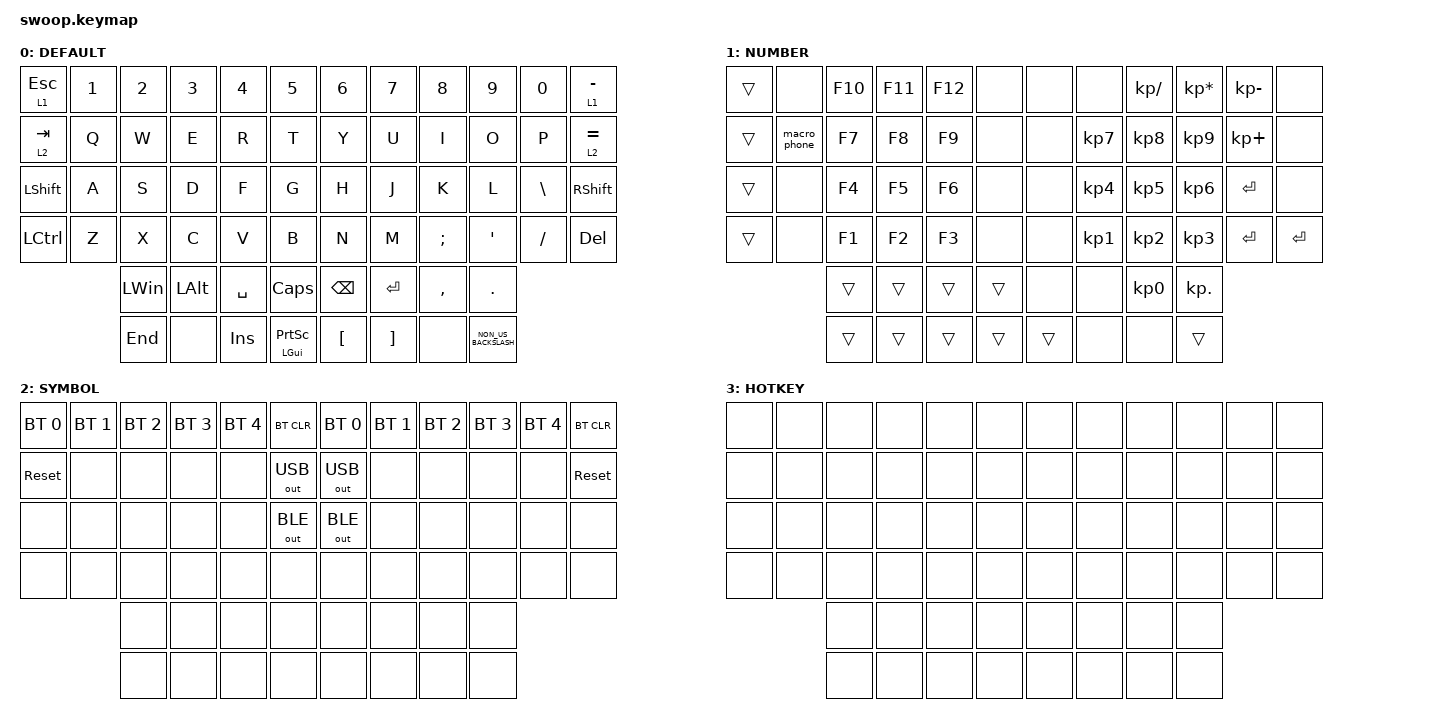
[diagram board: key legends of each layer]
#include <behaviors.dtsi>
#include <dt-bindings/zmk/bt.h>
#include <dt-bindings/zmk/keys.h>
#include <dt-bindings/zmk/outputs.h>

#define DEFAULT 0
#define NUMBER  1
#define SYMBOL  2
#define HOTKEY  3

#define AS(keycode) &as LS(keycode) keycode

/ {
    behaviors {
        td0: tap_dance_0 {
            compatible = "zmk,behavior-tap-dance";
            label = "TAP_DANCE_0";
            #binding-cells = <0>;
            tapping-term-ms = <200>;
            bindings =
                <&kp ESC>,
                <&kp TAB>;
        };
    };

    behaviors {
        as: auto_shift {
            compatible = "zmk,behavior-hold-tap";
            label = "AUTO_SHIFT";
            #binding-cells = <2>;
            tapping-term-ms = <200>;
            quick-tap-ms = <0>;
            flavor = "tap-preferred";
            bindings =
                <&kp>,
                <&kp>;
        };
        modcp: mod_copy {
            compatible = "zmk,behavior-mod-morph";
            label = "MOD_COPY";
            #binding-cells = <0>;
            bindings =
                <&as LS(C) C>,
                <&kp C>;

            mods = <(LGUI | RGUI)>;
        };
    };

    macros {
        macro_phone: macro_phone {
            // 1351

            label = "MACRO_PHONE";
            compatible = "zmk,behavior-macro";
            #binding-cells = <0>;
            bindings = <&kp N1 &kp N3 &kp N5 &kp N1>;
        };
        macro_email_q: macro_email_q {
            // 2894512440@qq.com

            label = "MACRO_EMAIL_QQ";
            compatible = "zmk,behavior-macro";
            #binding-cells = <0>;
            bindings = <&kp N2 &kp N8 &kp N9 &kp N4 &kp N5 &kp N1 &kp N2 &kp N4 &kp N4 &kp N0 &kp AT &kp Q &kp Q &kp DOT &kp C &kp O &kp M>;
        };
        macro_email_g: macro_email_g {
            // 135115

            compatible = "zmk,behavior-macro";
            label = "MACRO_EMAIL_GMAIL";
            #binding-cells = <0>;
            bindings = <&kp N1 &kp N3 &kp N5 &kp N1 &kp N1 &kp N5>;
        };
    };

    combos {
        compatible = "zmk,combos";

        combo_LSHFT {
            timeout-ms = <50>;
            key-positions = <14 15>;
            bindings = <&kp  LSHFT>;
        };
    };

    keymap {
        compatible = "zmk,keymap";

        default_layer {
            label = "DEFAULT";
            bindings = <
 &lt 1 ESC  &kp N1        &kp N2        &kp N3      &kp N4                &kp N5            &kp N6             &kp N7         &kp N8                &kp N9         &kp N0  &lt 1 MINUS
 &lt 2 TAB   &kp Q         &kp W         &kp E       &kp R                 &kp T             &kp Y              &kp U          &kp I                 &kp O          &kp P  &lt 2 EQUAL
&kp LSHIFT   &kp A         &kp S         &kp D       &kp F                 &kp G             &kp H              &kp J          &kp K                 &kp L  &kp BACKSLASH   &kp RSHIFT
 &kp LCTRL   &kp Z         &kp X         &kp C       &kp V                 &kp B             &kp N              &kp M  &kp SEMICOLON               &kp SQT       &kp FSLH      &kp DEL
                    &kp LEFT_WIN  &kp LEFT_ALT   &kp SPACE          &kp CAPSLOCK     &kp BACKSPACE          &kp ENTER      &kp COMMA            &kp PERIOD
                         &kp END         &none  &kp INSERT  &mt LGUI PRINTSCREEN  &kp LEFT_BRACKET  &kp RIGHT_BRACKET          &none  &kp NON_US_BACKSLASH
            >;
        };

        number_layer {
            label = "NUMBER";
            bindings = <
&trans         &none  &kp F10  &kp F11  &kp F12   &none   &none      &none  &kp KP_SLASH  &kp KP_MULTIPLY  &kp KP_MINUS      &none
&trans  &macro_phone   &kp F7   &kp F8   &kp F9   &none   &none  &kp KP_N7     &kp KP_N8        &kp KP_N9   &kp KP_PLUS      &none
&trans         &none   &kp F4   &kp F5   &kp F6   &none   &none  &kp KP_N4     &kp KP_N5        &kp KP_N6     &kp ENTER      &none
&trans         &none   &kp F1   &kp F2   &kp F3   &none   &none  &kp KP_N1     &kp KP_N2        &kp KP_N3     &kp ENTER  &kp ENTER
                       &trans   &trans   &trans  &trans   &none      &none     &kp KP_N0       &kp KP_DOT
                       &trans   &trans   &trans  &trans  &trans      &none         &none           &trans
            >;
        };

        symbol_layer {
            label = "SYMBOL";
            bindings = <
&bt BT_SEL 0  &bt BT_SEL 1  &bt BT_SEL 2  &bt BT_SEL 3  &bt BT_SEL 4    &bt BT_CLR  &bt BT_SEL 0  &bt BT_SEL 1  &bt BT_SEL 2  &bt BT_SEL 3  &bt BT_SEL 4  &bt BT_CLR
  &sys_reset         &none         &none         &none         &none  &out OUT_USB  &out OUT_USB         &none         &none         &none         &none  &sys_reset
       &none         &none         &none         &none         &none  &out OUT_BLE  &out OUT_BLE         &none         &none         &none         &none       &none
       &none         &none         &none         &none         &none         &none         &none         &none         &none         &none         &none       &none
                                   &none         &none         &none         &none         &none         &none         &none         &none
                                   &none         &none         &none         &none         &none         &none         &none         &none
            >;
        };

        hotkey_layer {
            label = "HOTKEY";
            bindings = <
&none  &none  &none  &none  &none  &none  &none  &none  &none  &none  &none  &none
&none  &none  &none  &none  &none  &none  &none  &none  &none  &none  &none  &none
&none  &none  &none  &none  &none  &none  &none  &none  &none  &none  &none  &none
&none  &none  &none  &none  &none  &none  &none  &none  &none  &none  &none  &none
              &none  &none  &none  &none  &none  &none  &none  &none
              &none  &none  &none  &none  &none  &none  &none  &none
            >;
        };
    };
};
